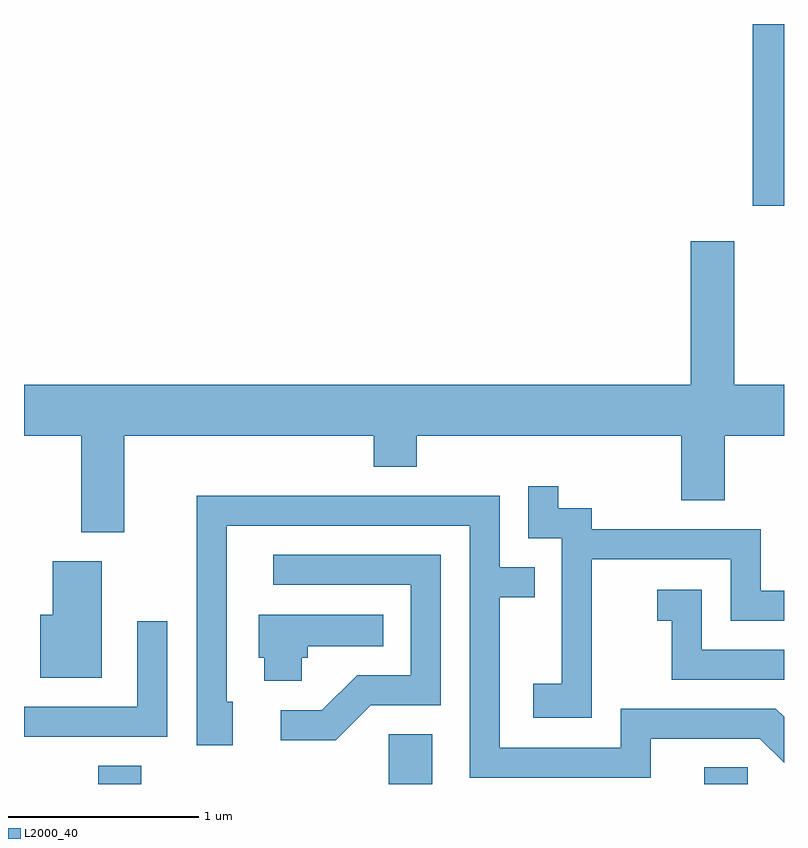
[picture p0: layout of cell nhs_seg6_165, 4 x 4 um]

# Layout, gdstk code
import gdstk
lib = gdstk.Library(unit=1e-6, precision=1e-09)
def R(c, l, rs):  # rectangles x0, y0, x1, y1
    for r in rs: c.add(gdstk.rectangle(r[:2], r[2:], *l))
def P(c, l, *ps):  # polygons
    for p in ps: c.add(gdstk.Polygon(p, *l))
L2000_40 = (2000, 40)

nhs_seg6_165 = lib.new_cell('nhs_seg6_165')
R(nhs_seg6_165, L2000_40, [(190.001,1588.162,190.229,1588.259), (191.531,1588.162,191.759,1588.424), (193.191,1588.162,193.419,1588.249), (193.446,1591.206,193.611,1592.162)])
P(nhs_seg6_165, L2000_40, [(190.139,1589.996),(191.451,1589.996),(191.451,1589.831),(191.679,1589.831),(191.679,1589.996),(193.071,1589.996),(193.071,1589.656),(193.299,1589.656),(193.299,1589.996),(193.611,1589.996),(193.611,1590.264),(193.349,1590.264),(193.349,1591.019),(193.121,1591.019),(193.121,1590.264),(189.611,1590.264),(189.611,1589.996),(189.911,1589.996),(189.911,1589.486),(190.139,1589.486)],
  [(192.599,1589.346),(193.331,1589.346),(193.331,1589.021),(193.611,1589.021),(193.611,1589.179),(193.489,1589.179),(193.489,1589.504),(192.599,1589.504),(192.599,1589.614),(192.424,1589.614),(192.424,1589.728),(192.266,1589.728),(192.266,1589.456),(192.441,1589.456),(192.441,1588.689),(192.291,1588.689),(192.291,1588.511),(192.599,1588.511)],
  [(192.909,1588.401),(193.484,1588.401),(193.611,1588.274),(193.611,1588.515),(193.567,1588.559),(192.751,1588.559),(192.751,1588.354),(192.114,1588.354),(192.114,1589.146),(192.298,1589.146),(192.298,1589.304),(192.114,1589.304),(192.114,1589.679),(190.521,1589.679),(190.521,1588.366),(190.709,1588.366),(190.709,1588.594),(190.679,1588.594),(190.679,1589.521),(191.956,1589.521),(191.956,1588.196),(192.909,1588.196)],
  [(191.437,1588.576),(191.804,1588.576),(191.804,1589.369),(190.923,1589.369),(190.923,1589.211),(191.646,1589.211),(191.646,1588.734),(191.364,1588.734),(191.179,1588.549),(190.963,1588.549),(190.963,1588.391),(191.252,1588.391)],
  [(190.019,1589.334),(189.761,1589.334),(189.761,1589.054),(189.696,1589.054),(189.696,1588.721),(190.019,1588.721)],
  [(193.611,1588.869),(193.179,1588.869),(193.179,1589.184),(192.943,1589.184),(192.943,1589.021),(193.021,1589.021),(193.021,1588.711),(193.611,1588.711)],
  [(191.074,1588.826),(191.104,1588.826),(191.104,1588.886),(191.503,1588.886),(191.503,1589.054),(190.846,1589.054),(190.846,1588.826),(190.876,1588.826),(190.876,1588.706),(191.074,1588.706)],
  [(190.364,1589.018),(190.206,1589.018),(190.206,1588.569),(189.611,1588.569),(189.611,1588.411),(190.364,1588.411)])

lib.write_gds('nhs_seg6_165.gds')
